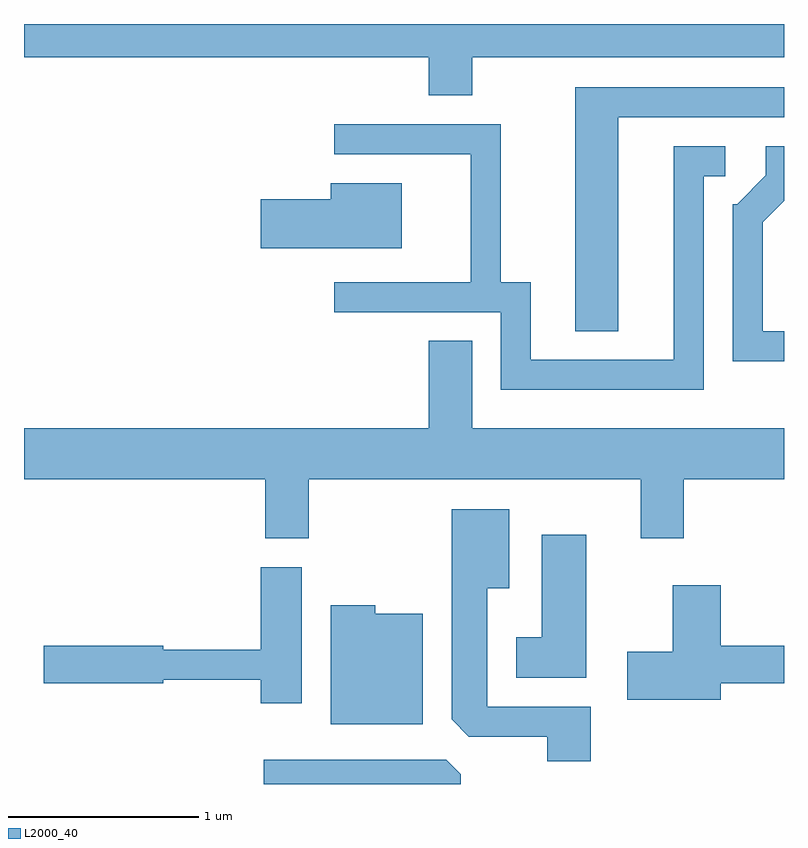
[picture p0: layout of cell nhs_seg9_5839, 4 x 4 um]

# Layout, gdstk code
import gdstk
lib = gdstk.Library(unit=1e-6, precision=1e-09)
def P(c, l, *ps):  # polygons
    for p in ps: c.add(gdstk.Polygon(p, *l))
L2000_40 = (2000, 40)

nhs_seg9_5839 = lib.new_cell('nhs_seg9_5839')
P(nhs_seg9_5839, L2000_40, [(359.969,1996.256),(361.611,1996.256),(361.611,1996.432),(357.611,1996.432),(357.611,1996.256),(359.741,1996.256),(359.741,1996.056),(359.969,1996.056)],
  [(360.739,1995.941),(361.611,1995.941),(361.611,1996.099),(360.511,1996.099),(360.511,1994.816),(360.739,1994.816)],
  [(361.189,1995.631),(361.303,1995.631),(361.303,1995.789),(361.031,1995.789),(361.031,1994.664),(360.279,1994.664),(360.279,1995.074),(360.119,1995.074),(360.119,1995.904),(359.243,1995.904),(359.243,1995.746),(359.961,1995.746),(359.961,1995.074),(359.243,1995.074),(359.243,1994.916),(360.121,1994.916),(360.121,1994.506),(361.189,1994.506)],
  [(361.611,1994.814),(361.499,1994.814),(361.499,1995.389),(361.611,1995.501),(361.611,1995.789),(361.516,1995.789),(361.516,1995.637),(361.364,1995.484),(361.341,1995.484),(361.341,1994.656),(361.611,1994.656)],
  [(359.599,1995.594),(359.226,1995.594),(359.226,1995.509),(358.856,1995.509),(358.856,1995.251),(359.599,1995.251)],
  [(359.109,1994.036),(360.856,1994.036),(360.856,1993.726),(361.084,1993.726),(361.084,1994.036),(361.611,1994.036),(361.611,1994.304),(359.969,1994.304),(359.969,1994.764),(359.741,1994.764),(359.741,1994.304),(357.611,1994.304),(357.611,1994.036),(358.881,1994.036),(358.881,1993.726),(359.109,1993.726)],
  [(360.594,1992.839),(360.049,1992.839),(360.049,1993.461),(360.164,1993.461),(360.164,1993.879),(359.861,1993.879),(359.861,1992.772),(359.952,1992.681),(360.366,1992.681),(360.366,1992.551),(360.594,1992.551)],
  [(360.569,1993.744),(360.336,1993.744),(360.336,1993.204),(360.201,1993.204),(360.201,1992.991),(360.569,1992.991)],
  [(359.074,1993.574),(358.856,1993.574),(358.856,1993.139),(358.344,1993.139),(358.344,1993.159),(357.716,1993.159),(357.716,1992.961),(358.344,1992.961),(358.344,1992.981),(358.856,1992.981),(358.856,1992.856),(359.074,1992.856)],
  [(361.279,1992.961),(361.611,1992.961),(361.611,1993.159),(361.279,1993.159),(361.279,1993.479),(361.026,1993.479),(361.026,1993.129),(360.786,1993.129),(360.786,1992.876),(361.279,1992.876)],
  [(359.709,1993.329),(359.459,1993.329),(359.459,1993.374),(359.226,1993.374),(359.226,1992.746),(359.709,1992.746)],
  [(359.909,1992.484),(359.834,1992.559),(358.873,1992.559),(358.873,1992.432),(359.909,1992.432)])

lib.write_gds('nhs_seg9_5839.gds')
